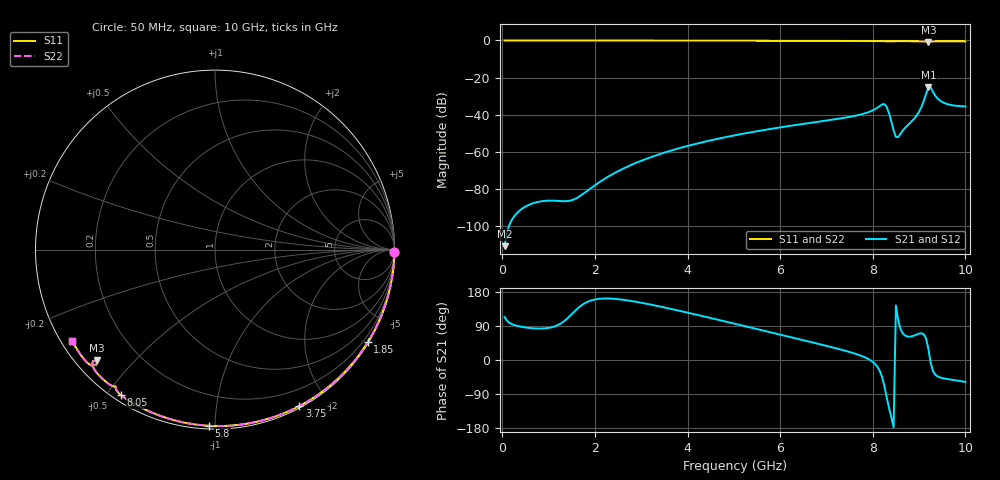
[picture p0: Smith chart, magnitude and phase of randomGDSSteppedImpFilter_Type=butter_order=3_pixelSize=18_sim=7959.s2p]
! freq	dB(S11)	phase(S11)	dB(S12)	phase(S12)
!  dB(S21)	phase(S21)	dB(S22)	phase(S22)
!S-par simulation data
#  GHz  S  DB  R 50
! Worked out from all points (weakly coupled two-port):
!   200 points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, 50 MHz to 10 GHz, reference 50 ohm
!   highest |S21| = -25.31 dB at 9.2 GHz (marker M1); lowest = -110.9 dB at 50 MHz (marker M2)
!   lowest |S11| = -0.9 dB at 9.2 GHz (marker M3), VSWR 19.59, Z = 2.95 - j19.7 ohm
!   |S11| at or under -10 dB: nowhere
!   |S22| runs from -0.9 to 0.0 dB; largest |S21 - S12| = 0
!   S11 on the Smith chart (normalised r, x): 50 MHz: open; 1.85 GHz: 0.03, -3.57; 3.75 GHz: 0.02, -1.68; 5.8 GHz: 0.02, -0.97; 8.05 GHz: 0.02, -0.54; 10 GHz: 0.03, -0.29
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0.05  -0.00 -0.9  -110.88 113.5  -110.88 113.5  -0.00 -0.9
1.75  -0.04 -29.6  -82.63 147.5  -82.63 147.5  -0.04 -29.6
1.85  -0.04 -31.3  -80.79 154.0  -80.79 154.0  -0.04 -31.3
2.6  -0.06 -43.5  -69.21 159.1  -69.21 159.1  -0.06 -43.5
3.4  -0.07 -56.2  -61.27 141.3  -61.27 141.3  -0.07 -56.2
3.75  -0.08 -61.7  -58.59 131.9  -58.59 131.9  -0.08 -61.6
5.05  -0.12 -81.1  -50.98 94.8  -50.98 94.8  -0.12 -81.1
5.8  -0.15 -91.9  -47.66 72.8  -47.66 72.8  -0.15 -91.9
6.7  -0.20 -104.4  -44.26 46.3  -44.26 46.3  -0.20 -104.4
7.65  -0.26 -117.3  -40.43 15.4  -40.43 15.4  -0.26 -117.3
8.05  -0.31 -123.0  -37.03 -10.7  -37.03 -10.7  -0.31 -123.0
8.25  -0.47 -125.8  -34.29 -68.3  -34.29 -68.3  -0.48 -125.8
8.3  -0.51 -126.0  -35.74 -98.3  -35.74 -98.3  -0.52 -125.9
8.35  -0.49 -126.2  -39.14 -126.4  -39.14 -126.4  -0.49 -126.2
8.5  -0.41 -128.0  -52.01 143.7  -52.01 143.7  -0.41 -128.0
8.55  -0.40 -128.8  -52.05 104.3  -52.05 104.3  -0.40 -128.7
9  -0.47 -135.3  -38.39 69.7  -38.39 69.7  -0.47 -135.3
9.2  -0.89 -136.9  -25.31 29.7  -25.31 29.7  -0.88 -136.9
9.25  -0.71 -135.8  -25.34 -7.9  -25.34 -7.9  -0.71 -135.8
9.35  -0.46 -137.8  -29.79 -38.8  -29.79 -38.8  -0.45 -137.8
9.5  -0.43 -140.4  -33.19 -47.7  -33.19 -47.7  -0.43 -140.4
10  -0.49 -147.5  -35.54 -57.8  -35.54 -57.8  -0.49 -147.5
